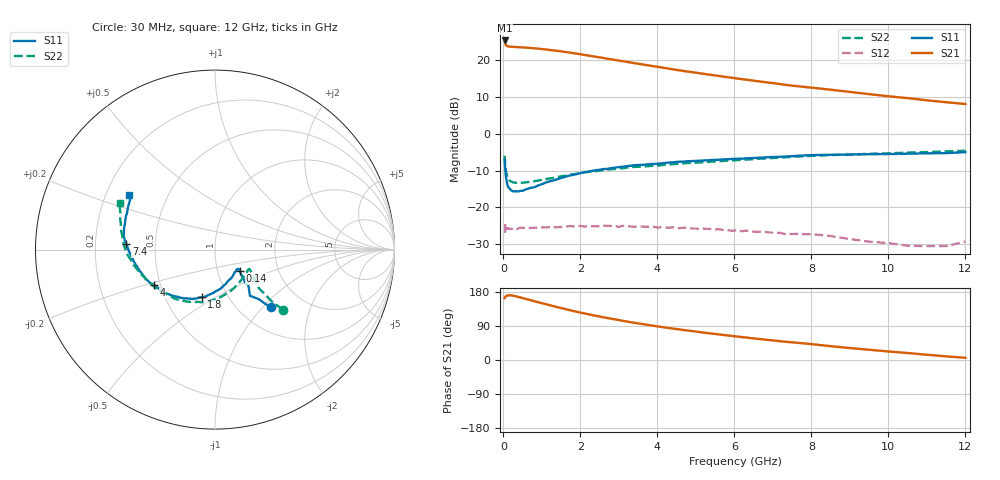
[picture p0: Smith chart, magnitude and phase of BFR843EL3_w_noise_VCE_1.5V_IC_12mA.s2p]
! Infineon Technologies  Discrete & RF Semiconductors
! BFR843EL3
! VCE =  1.5 V,  IC =  12 mA
! Common Emitter S-Parameters:  Aug 2013
# GHz  S  MA  R  50
!  f  S11  S21  S12  S22
! GHz  MAG  ANG  MAG  ANG  MAG  ANG  MAG  ANG
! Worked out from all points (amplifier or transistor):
!   103 points, 30 MHz to 12 GHz, reference 50 ohm
!   highest |S21| = 25.4 dB at 30 MHz (marker M1)
!   |S21| within 3 dB of that: start of sweep to 1.524 GHz
!   unconditionally stable (mu >= 1): 331 MHz to 362.8 MHz; 5.208 GHz to end of sweep
!   at 400 MHz: K = 0.99, MSG = 24.6 dB, |S12| = -25.6 dB
!   at 3.7 GHz: K = 0.88, MSG = 22.0 dB, |S12| = -25.2 dB
!   at 12 GHz: K = 2.59, MAG = 11.7 dB, |S12| = -29.3 dB
!   lowest NFmin = 0.93 dB at 450 MHz
!   S11 on the Smith chart (normalised r, x): 30 MHz: 1.38, -1.11; 140 MHz: 1.28, -0.32; 1.8 GHz: 0.75, -0.43; 4 GHz: 0.46, -0.22; 7.4 GHz: 0.34, +0.03; 12 GHz: 0.30, +0.27
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0.03  0.4468 -46.2  18.67 163.4  0.0452 30.3  0.505 -41.6
0.04  0.3658 -48.7  17.52 164.8  0.0469 22.5  0.4223 -42.4
0.06  0.2717 -46.8  16.34 167.5  0.0549 12.0  0.3263 -41.4
0.09  0.2175 -45.2  15.77 169.8  0.0519 10.1  0.272 -36.4
0.14  0.183 -40.8  15.46 170.8  0.0514 7.3  0.2367 -31.7
0.25  0.165 -41.0  15.29 169.6  0.0517 4.0  0.2189 -29.7
0.6  0.1774 -55.8  14.9 160.7  0.0523 3.7  0.2199 -43.8
1.2  0.2261 -85.6  13.87 144.6  0.054 1.9  0.2481 -70.9
1.5  0.2524 -96.9  13.27 136.9  0.0541 1.6  0.2652 -82.7
1.8  0.2762 -105.7  12.57 129.7  0.0553 1.3  0.2823 -92.9
2.1  0.3021 -114.5  11.88 122.9  0.0548 0.5  0.2991 -102.1
2.6  0.3323 -126.5  10.77 112.6  0.0562 -0.9  0.3213 -114.5
3  0.3534 -134.1  9.926 105.2  0.0543 -2.6  0.338 -123.3
3.5  0.3774 -142.8  8.994 96.6  0.0555 -3.7  0.3571 -132.6
4  0.3934 -149.8  8.18 88.7  0.0531 -4.4  0.3712 -139.9
4.1  0.3973 -150.8  8.019 87.3  0.0536 -5.8  0.3755 -140.9
5.1  0.4321 -163.1  6.677 73.6  0.0512 -7.0  0.4093 -153.9
6.1  0.4596 -172.7  5.64 61.6  0.049 -7.9  0.4411 -164.0
7.4  0.4942 176.5  4.601 47.4  0.0436 -8.6  0.4833 -175.4
8.5  0.5204 166.7  3.991 36.5  0.0408 -10.2  0.5154 174.9
10.5  0.5383 154.4  3.066 18.4  0.0301 5.3  0.5563 161.8
12  0.5642 147.6  2.552 5.8  0.0343 27.5  0.5899 154.1
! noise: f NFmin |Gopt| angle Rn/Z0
0.45  0.93  0.05  82  0.12
0.9  0.94  0.06  89  0.12
1.5  0.96  0.07  95  0.11
1.9  0.97  0.08  98  0.11
2.4  0.99  0.08  107  0.11
3.5  1.01  0.11  121  0.11
5.5  1.06  0.17  151  0.1
8  1.12  0.28  183  0.07
10  1.16  0.4  213  0.06
